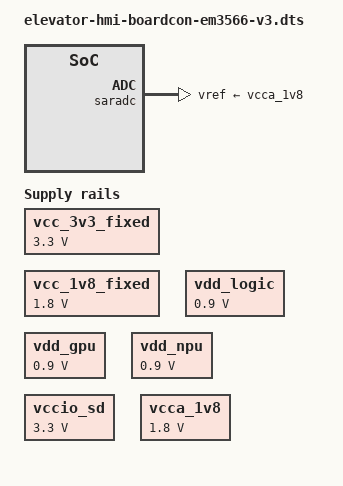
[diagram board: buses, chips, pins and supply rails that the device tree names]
// SPDX-License-Identifier: (GPL-2.0 OR MIT)
/*
 * Elevator HMI — Boardcon EM3566 v3 reference + LMT101SX006C (JD9365) on MIPI-DSI0.
 *
 * Extends the Rockchip BSP baseline:
 *   arch/arm64/boot/dts/rockchip/rk3566-evb2-lp4x-v10-linux.dts
 * from the linux-rockchip_6.1 kernel (SRCREV in meta-rockchip linux-rockchip_6.1.bb
 * at the kas-pinned commit).
 *
 * Panel overlay: elevator-hmi-lmt101sx006c-panel.dtsi (replaces stock EVB
 * simple-panel-dsi child under &dsi0).
 */

/dts-v1/;

#include "rk3566-evb2-lp4x-v10-linux.dts"
#include "elevator-hmi-lmt101sx006c-panel.dtsi"

/*
 * TASK-120: CM3566 has no RK809 at 0x20. rk3568-evb.dtsi defines vdd_logic, vdd_gpu,
 * vdd_npu, vccio_sd, vcca_1v8 as PMIC children — duplicate labels if we only add fixed
 * rails. Delete those PMIC regulator nodes, then define the same labels at board scope.
 */
&rk809 {
	regulators {
		/delete-node/ DCDC_REG1;
		/delete-node/ DCDC_REG2;
		/delete-node/ DCDC_REG4;
		/delete-node/ LDO_REG5;
		/delete-node/ LDO_REG7;
	};
};

/*
 * TASK-117: rk3568-linux.dtsi hardcodes root=PARTUUID=614e0000-0000; WIC rootfs is
 * /dev/mmcblk0p2. Override chosen.bootargs in this board DTB (kernel uses DT chosen).
 */
/ {
	chosen {
		bootargs = "earlycon=uart8250,mmio32,0xfe660000 console=ttyFIQ0 console=ttyS2,1500000 root=/dev/mmcblk0p2 rw rootfstype=ext4 rootwait";
	};

	/* TASK-119: CM3566 — pmu_io_domains cannot use PMIC supplies. */
	vcc_3v3_fixed: regulator-vcc3v3 {
		compatible = "regulator-fixed";
		regulator-name = "vcc_3v3_fixed";
		regulator-always-on;
		regulator-boot-on;
		regulator-min-microvolt = <3300000>;
		regulator-max-microvolt = <3300000>;
	};

	vcc_1v8_fixed: regulator-vcc1v8 {
		compatible = "regulator-fixed";
		regulator-name = "vcc_1v8_fixed";
		regulator-always-on;
		regulator-boot-on;
		regulator-min-microvolt = <1800000>;
		regulator-max-microvolt = <1800000>;
	};

	/* TASK-120: replace PMIC rails inherited from rk3568-evb (see &rk809 delete-node). */
	vdd_logic: regulator-vdd-logic {
		compatible = "regulator-fixed";
		regulator-name = "vdd_logic";
		regulator-always-on;
		regulator-boot-on;
		regulator-min-microvolt = <900000>;
		regulator-max-microvolt = <900000>;
	};

	vdd_gpu: regulator-vdd-gpu {
		compatible = "regulator-fixed";
		regulator-name = "vdd_gpu";
		regulator-always-on;
		regulator-boot-on;
		regulator-min-microvolt = <900000>;
		regulator-max-microvolt = <900000>;
	};

	vdd_npu: regulator-vdd-npu {
		compatible = "regulator-fixed";
		regulator-name = "vdd_npu";
		regulator-always-on;
		regulator-boot-on;
		regulator-min-microvolt = <900000>;
		regulator-max-microvolt = <900000>;
	};

	vccio_sd: regulator-vccio-sd {
		compatible = "regulator-fixed";
		regulator-name = "vccio_sd";
		regulator-always-on;
		regulator-boot-on;
		regulator-min-microvolt = <3300000>;
		regulator-max-microvolt = <3300000>;
	};

	vcca_1v8: regulator-vcca-1v8 {
		compatible = "regulator-fixed";
		regulator-name = "vcca_1v8";
		regulator-always-on;
		regulator-boot-on;
		regulator-min-microvolt = <1800000>;
		regulator-max-microvolt = <1800000>;
	};
};

&pmu_io_domains {
	status = "okay";
	pmuio1-supply = <&vcc_3v3_fixed>;
	pmuio2-supply = <&vcc_3v3_fixed>;
	vccio1-supply = <&vcc_1v8_fixed>;
	vccio2-supply = <&vcc_1v8_fixed>;
	vccio3-supply = <&vcc_3v3_fixed>;
	vccio4-supply = <&vcc_1v8_fixed>;
	vccio5-supply = <&vcc_3v3_fixed>;
	vccio6-supply = <&vcc_3v3_fixed>;
	vccio7-supply = <&vcc_3v3_fixed>;
};

&vop {
	vop-supply = <&vdd_logic>;
};

&gpu {
	mali-supply = <&vdd_gpu>;
};

&rknpu {
	rknpu-supply = <&vdd_npu>;
};

&rkvenc {
	venc-supply = <&vdd_logic>;
};

&rkvdec {
	vdec-supply = <&vdd_logic>;
};

&dmc {
	center-supply = <&vdd_logic>;
};

&sdmmc0 {
	vqmmc-supply = <&vccio_sd>;
};

&saradc {
	vref-supply = <&vcca_1v8>;
};
